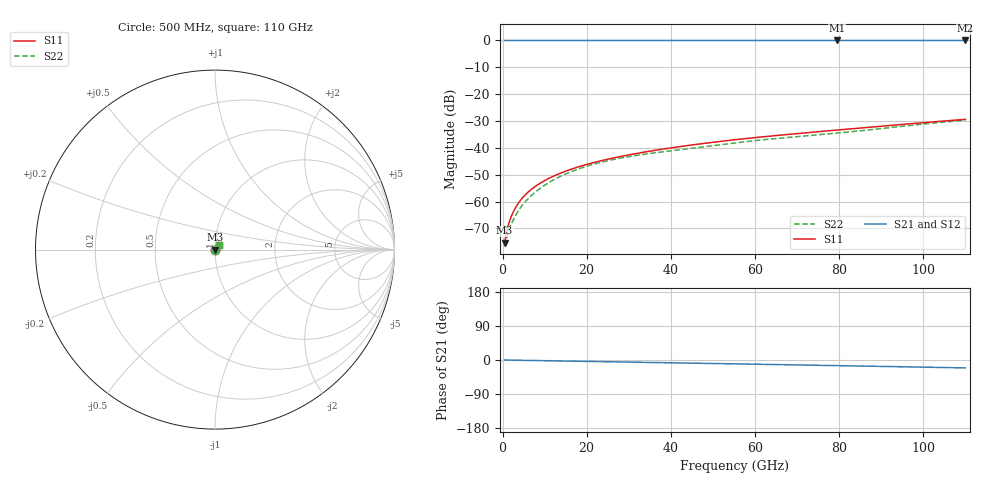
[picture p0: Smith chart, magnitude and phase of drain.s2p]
! AWR Design Environment (9307) Mon Sep  2 17:34:05 2019
! Document = 'Drain EM Export'
! nPorts: 2, nXvals: 220
# GHz S DB R 50
!Freq DBS11 AngS11 DBS21 AngS21 DBS12 AngS12 DBS22 AngS22
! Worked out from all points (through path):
!   220 points, 500 MHz to 110 GHz, reference 50 ohm
!   highest |S21| = 0.00 dB at 79.5 GHz (marker M1); lowest = 0.0 dB at 110 GHz (marker M2)
!   group delay of S21, straight-line fit = 528 fs
!   lowest |S11| = -75.3 dB at 500 MHz (marker M3), VSWR 1.00, Z = 50 + j0.0129 ohm
!   |S11| at or under -10 dB: start of sweep to end of sweep
!   |S22| runs from -76.6 to -29.7 dB; largest |S21 - S12| = 0
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0.5  -75.30 48.9  -0.00 -0.1  -0.00 -0.1  -76.64 40.3
1  -71.18 65.2  -0.00 -0.2  -0.00 -0.2  -73.60 57.3
1.5  -68.18 72.1  -0.00 -0.3  -0.00 -0.3  -71.00 66.5
2  -65.89 75.8  -0.00 -0.4  -0.00 -0.4  -68.85 72.0
2.5  -64.06 78.0  -0.00 -0.5  -0.00 -0.5  -67.04 75.6
3  -62.54 79.3  -0.00 -0.5  -0.00 -0.5  -65.49 78.2
4  -60.10 80.9  -0.00 -0.7  -0.00 -0.7  -62.92 81.6
5.5  -57.38 81.7  -0.00 -1.0  -0.00 -1.0  -59.93 84.5
8  -54.15 81.7  -0.00 -1.4  -0.00 -1.4  -56.23 87.0
11  -51.39 80.7  -0.00 -2.0  -0.00 -2.0  -52.97 88.5
14.5  -48.99 79.1  -0.00 -2.6  -0.00 -2.6  -50.10 89.4
19  -46.63 76.8  -0.00 -3.4  -0.00 -3.4  -47.35 89.8
22.5  -45.16 75.0  -0.00 -4.0  -0.00 -4.0  -45.73 89.8
26.5  -43.72 72.8  -0.00 -4.8  -0.00 -4.8  -44.28 89.6
37  -40.75 66.9  -0.00 -6.7  -0.00 -6.7  -41.70 89.5
45.5  -38.83 62.3  -0.00 -8.3  -0.00 -8.3  -40.10 89.0
55.5  -36.94 57.9  -0.00 -10.2  -0.00 -10.2  -38.14 85.1
62.5  -35.80 55.7  0.00 -11.5  0.00 -11.5  -36.92 81.1
73.5  -34.20 52.7  0.00 -13.7  0.00 -13.7  -35.39 74.5
79.5  -33.38 51.1  0.00 -14.9  0.00 -14.9  -34.53 70.7
92  -31.68 47.6  0.00 -17.3  0.00 -17.3  -32.47 62.4
110  -29.38 43.4  -0.01 -20.8  -0.01 -20.8  -29.72 50.9
